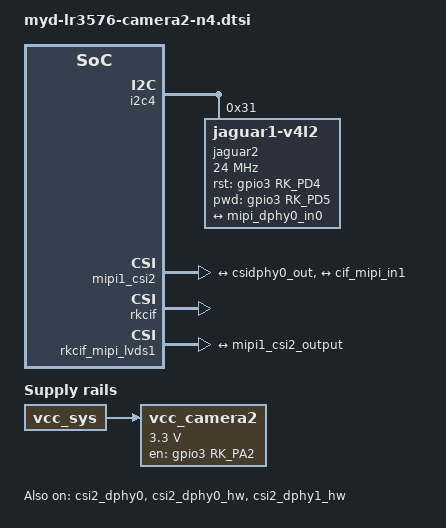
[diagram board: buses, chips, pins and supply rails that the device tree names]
// SPDX-License-Identifier: (GPL-2.0+ OR MIT)
/*
 * Copyright (c) 2024 MYIR Electronics Co., Ltd.
 *
 */

/ {
	vcc_camera2: vcc-camera2 {
		compatible = "regulator-fixed";
		regulator-name = "vcc_camera2";
		regulator-boot-on;
		regulator-always-on;
		regulator-min-microvolt = <3300000>;
		regulator-max-microvolt = <3300000>;
		enable-active-high;
		gpio = <&gpio3 RK_PA2 GPIO_ACTIVE_HIGH>;
		pinctrl-names = "default";
		pinctrl-0 = <&camera2_pwr>;
		vin-supply = <&vcc_sys>;
	};

	clk_camera2_fixed: clock {
		compatible = "fixed-clock";
		#clock-cells = <0>;
		clock-frequency = <24000000>;
		clock-output-names = "CLK_CAMERA2_24MHZ";
	};
};

&csi2_dphy0 {
	status = "okay";

	ports {
		#address-cells = <1>;
		#size-cells = <0>;
		port@0 {
			reg = <0>;
			#address-cells = <1>;
			#size-cells = <0>;

			mipi_dphy0_in0: endpoint@1 {
				reg = <1>;
				remote-endpoint = <&n4_out>;
				data-lanes = <1 2 3 4>;
			};
		};
		port@1 {
			reg = <1>;
			#address-cells = <1>;
			#size-cells = <0>;

			csidphy0_out: endpoint@0 {
				reg = <0>;
				remote-endpoint = <&mipi1_csi2_input>;
			};
		};
	};
};

&csi2_dphy0_hw {
	status = "okay";
};

&csi2_dphy1_hw {
	status = "okay";
};

&i2c4 {
	status = "okay";
	pinctrl-names = "default";
	pinctrl-0 = <&i2c4m3_xfer>;

	jaguar2: jaguar2@31 {
		status = "okay";
		compatible = "jaguar1-v4l2";
		reg = <0x31>;
		clocks = <&clk_camera2_fixed>;
		clock-names = "xvclk";
		clock-frequency = <24000000>;
		power-domains = <&power RK3576_PD_VI>;
		pinctrl-names = "rockchip,camera_default",
                        "rockchip,camera_sleep";
		pinctrl-0 = <&camera2_default_pins>;
		pinctrl-1 = <&camera2_sleep_pins>;
		rst-gpios = <&gpio3 RK_PD4 GPIO_ACTIVE_HIGH>;
		pwd-gpios = <&gpio3 RK_PD5 GPIO_ACTIVE_HIGH>;
		rockchip,rst-gpio = <&gpio3 RK_PD4 GPIO_ACTIVE_HIGH>;
		rockchip,pwd-gpio = <&gpio3 RK_PD5 GPIO_ACTIVE_HIGH>;
		rockchip,camera-module-index = <0>;
		rockchip,camera-module-facing = "back";
		rockchip,camera-module-name = "default";
		rockchip,camera-module-lens-name = "default";
		rockchip,default_rect= <1920 1080>; // default resolution
		port {
			n4_out: endpoint {
				remote-endpoint = <&mipi_dphy0_in0>;
				data-lanes = <1 2 3 4>;
			};
		};
	};
};

&mipi1_csi2 {
	status = "okay";

	ports {
		#address-cells = <1>;
		#size-cells = <0>;

		port@0 {
			reg = <0>;
			#address-cells = <1>;
			#size-cells = <0>;

			mipi1_csi2_input: endpoint@1 {
				reg = <1>;
				remote-endpoint = <&csidphy0_out>;
			};
		};

		port@1 {
			reg = <1>;
			#address-cells = <1>;
			#size-cells = <0>;

			mipi1_csi2_output: endpoint@0 {
				reg = <0>;
				remote-endpoint = <&cif_mipi_in1>;
			};
		};
	};
};

&pinctrl {
	camera2_pwr {
		camera2_pwr: camera2-pwr {
			rockchip,pins =
				/* camera power en */
				<3 RK_PA2 RK_FUNC_GPIO &pcfg_pull_none>;
		};
	};

	camera2_default_pins {
		camera2_default_pins: camera2-default-pins {
			rockchip,pins =
				<3 RK_PD4 RK_FUNC_GPIO &pcfg_pull_up>,
				<3 RK_PD5 RK_FUNC_GPIO &pcfg_pull_up>;
		};
	};

	camera2_sleep_pins {
		camera2_sleep_pins: camera2-sleep-pins {
			rockchip,pins =
				<3 RK_PD4 RK_FUNC_GPIO &pcfg_pull_up>,
				<3 RK_PD5 RK_FUNC_GPIO &pcfg_pull_up>;
		};
	};
};

&rkcif {
	status = "okay";
	// rockchip,android-usb-camerahal-enable;
};

&rkcif_mipi_lvds1 {
	status = "okay";

	port {
		cif_mipi_in1: endpoint {
			remote-endpoint = <&mipi1_csi2_output>;
		};
	};
};

&rkcif_mmu {
	status = "okay";
};
